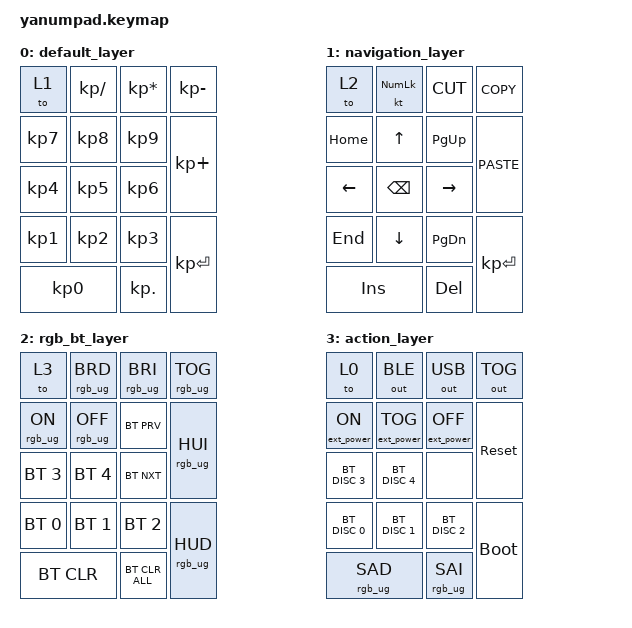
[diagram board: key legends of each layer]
#include <behaviors.dtsi>
#include <dt-bindings/zmk/bt.h>
#include <dt-bindings/zmk/ext_power.h>
#include <dt-bindings/zmk/keys.h>
#include <dt-bindings/zmk/outputs.h>
#include <dt-bindings/zmk/rgb.h>

&led_strip { chain-length = <24>; };

/ {
    keymap {
        compatible = "zmk,keymap";

        default_layer {
            bindings = <
&to 1            &kp KP_DIVIDE    &kp KP_MULTIPLY  &kp KP_MINUS
&kp KP_NUMBER_7  &kp KP_NUMBER_8  &kp KP_NUMBER_9  &kp KP_PLUS
&kp KP_NUMBER_4  &kp KP_NUMBER_5  &kp KP_NUMBER_6
&kp KP_NUMBER_1  &kp KP_NUMBER_2  &kp KP_NUMBER_3  &kp KP_ENTER
                 &kp KP_NUMBER_0                   &kp KP_DOT
            >;
        };

        navigation_layer {
            bindings = <
&to 2     &kt KP_NUMLOCK  &kp K_CUT      &kp K_COPY
&kp HOME  &kp UP          &kp PAGE_UP    &kp K_PASTE
&kp LEFT  &kp BACKSPACE   &kp RIGHT
&kp END   &kp DOWN        &kp PAGE_DOWN  &kp KP_ENTER
          &kp INSERT                     &kp DELETE
            >;
        };

        rgb_bt_layer {
            bindings = <
&to 3           &rgb_ug RGB_BRD  &rgb_ug RGB_BRI  &rgb_ug RGB_TOG
&rgb_ug RGB_ON  &rgb_ug RGB_OFF  &bt BT_PRV       &rgb_ug RGB_HUI
&bt BT_SEL 3    &bt BT_SEL 4     &bt BT_NXT
&bt BT_SEL 0    &bt BT_SEL 1     &bt BT_SEL 2     &rgb_ug RGB_HUD
                &bt BT_CLR                        &bt BT_CLR_ALL
            >;
        };

        action_layer {
            bindings = <
&to 0             &out OUT_BLE       &out OUT_USB       &out OUT_TOG
&ext_power EP_ON  &ext_power EP_TOG  &ext_power EP_OFF  &sys_reset
&bt BT_DISC 3     &bt BT_DISC 4      &none
&bt BT_DISC 0     &bt BT_DISC 1      &bt BT_DISC 2      &bootloader
                  &rgb_ug RGB_SAD                       &rgb_ug RGB_SAI
            >;
        };
    };
};
